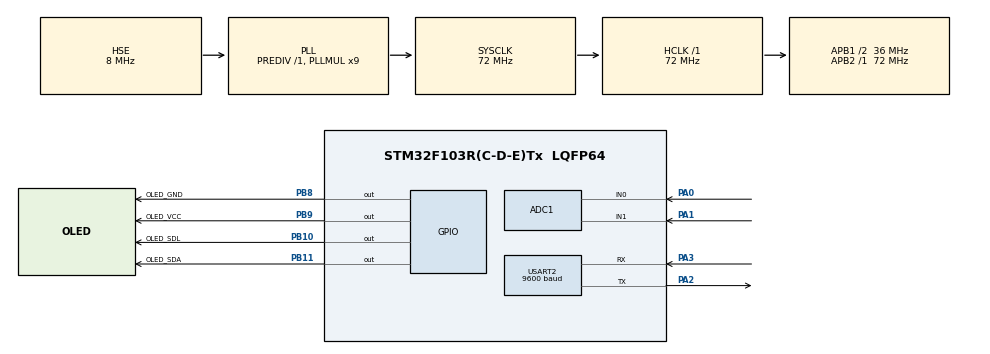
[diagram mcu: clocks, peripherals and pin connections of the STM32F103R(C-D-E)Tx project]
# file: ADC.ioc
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ADC1.Channel-3\#ChannelRegularConversion=ADC_CHANNEL_1
ADC1.ContinuousConvMode=DISABLE
ADC1.DiscontinuousConvMode=DISABLE
ADC1.NbrOfConversion=2
ADC1.NbrOfConversionFlag=1
ADC1.Rank-3\#ChannelRegularConversion=2
ADC1.SamplingTime-3\#ChannelRegularConversion=ADC_SAMPLETIME_1CYCLE_5
ADC1.master=1
Dma.ADC1.0.Direction=DMA_PERIPH_TO_MEMORY
Dma.ADC1.0.Instance=DMA1_Channel1
Dma.ADC1.0.MemDataAlignment=DMA_MDATAALIGN_WORD
Dma.ADC1.0.MemInc=DMA_MINC_ENABLE
Dma.ADC1.0.Mode=DMA_CIRCULAR
Dma.ADC1.0.PeriphDataAlignment=DMA_PDATAALIGN_WORD
Dma.ADC1.0.PeriphInc=DMA_PINC_DISABLE
Dma.ADC1.0.Priority=DMA_PRIORITY_LOW
Dma.Request0=ADC1
Mcu.Family=STM32F1
Mcu.Name=STM32F103R(C-D-E)Tx
Mcu.Package=LQFP64
NVIC.DMA1_Channel1_IRQn=true\:0\:0\:false\:false\:true\:false\:true\:true
NVIC.PriorityGroup=NVIC_PRIORITYGROUP_4
NVIC.USART2_IRQn=true\:0\:0\:false\:false\:true\:true\:true\:true
PA0-WKUP.Signal=ADCx_IN0
PA1.Signal=ADCx_IN1
PA13.Mode=Serial_Wire
PA13.Signal=SYS_JTMS-SWDIO
PA14.Mode=Serial_Wire
PA14.Signal=SYS_JTCK-SWCLK
PA2.Mode=Asynchronous
PA2.Signal=USART2_TX
PA3.Mode=Asynchronous
PA3.Signal=USART2_RX
PB10.GPIO_Label=OLED_SDL
PB10.GPIO_ModeDefaultOutputPP=GPIO_MODE_OUTPUT_OD
PB10.GPIO_PuPd=GPIO_NOPULL
PB10.PinState=GPIO_PIN_SET
PB10.Signal=GPIO_Output
PB11.GPIO_Label=OLED_SDA
PB11.GPIO_ModeDefaultOutputPP=GPIO_MODE_OUTPUT_OD
PB11.GPIO_PuPd=GPIO_NOPULL
PB11.PinState=GPIO_PIN_SET
PB11.Signal=GPIO_Output
PB8.GPIO_Label=OLED_GND
PB8.PinState=GPIO_PIN_RESET
PB8.Signal=GPIO_Output
PB9.GPIO_Label=OLED_VCC
PB9.GPIO_ModeDefaultOutputPP=GPIO_MODE_OUTPUT_PP
PB9.GPIO_PuPd=GPIO_NOPULL
PB9.PinState=GPIO_PIN_SET
PB9.Signal=GPIO_Output
PC14-OSC32_IN.Mode=LSE-External-Oscillator
PC14-OSC32_IN.Signal=RCC_OSC32_IN
PC15-OSC32_OUT.Mode=LSE-External-Oscillator
PC15-OSC32_OUT.Signal=RCC_OSC32_OUT
PD0-OSC_IN.Mode=HSE-External-Oscillator
PD0-OSC_IN.Signal=RCC_OSC_IN
PD1-OSC_OUT.Mode=HSE-External-Oscillator
PD1-OSC_OUT.Signal=RCC_OSC_OUT
ProjectManager.HeapSize=0x200
ProjectManager.StackSize=0x400
ProjectManager.TargetToolchain=MDK-ARM V5
RCC.ADCPresc=RCC_ADCPCLK2_DIV6
RCC.AHBFreq_Value=72000000
RCC.APB1CLKDivider=RCC_HCLK_DIV2
RCC.APB1Freq_Value=36000000
RCC.APB1TimFreq_Value=72000000
RCC.APB2Freq_Value=72000000
RCC.APB2TimFreq_Value=72000000
RCC.HCLKFreq_Value=72000000
RCC.PLLMUL=RCC_PLL_MUL9
RCC.PLLSourceVirtual=RCC_PLLSOURCE_HSE
RCC.SYSCLKFreq_VALUE=72000000
RCC.SYSCLKSource=RCC_SYSCLKSOURCE_PLLCLK
RCC.USBFreq_Value=72000000
SH.ADCx_IN0.0=ADC1_IN0,IN0
SH.ADCx_IN1.0=ADC1_IN1,IN1
TIM2.AutoReloadPreload=TIM_AUTORELOAD_PRELOAD_ENABLE
TIM2.Period=999
TIM2.Prescaler=71
USART2.BaudRate=9600
USART2.VirtualMode=VM_ASYNC
VP_TIM2_VS_ClockSourceINT.Mode=Internal
board=custom

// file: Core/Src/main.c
/* USER CODE BEGIN Header */
/**
  ******************************************************************************
  * @file           : main.c
  * @brief          : Main program body
  ******************************************************************************
  * @attention
  *
  * Copyright (c) 2026 STMicroelectronics.
  * All rights reserved.
  *
  * This software is licensed under terms that can be found in the LICENSE file
  * in the root directory of this software component.
  * If no LICENSE file comes with this software, it is provided AS-IS.
  *
  ******************************************************************************
  */
/* USER CODE END Header */
#include "main.h"
#include "adc.h"
#include "dma.h"
#include "tim.h"
#include "usart.h"
#include "gpio.h"

/* USER CODE BEGIN Includes */
#include <string.h>
#include <stdio.h>
#include "OLED.h"
/* USER CODE END Includes */

/* USER CODE BEGIN PD */
#define TestON
//#define TestOFF

//#ifdef TestON
//	printf("");
//#endif
/* USER CODE END PD */

void SystemClock_Config(void);

/* USER CODE BEGIN 0 */
// 1. ???????(????????)
#if (__ARMCC_VERSION >= 6010050)
__asm(".global __use_no_semihosting\n\t"); // ARMCC6
#else
#pragma import(__use_no_semihosting) // ARMCC5
#endif

// �ض���
uint32_t a=1,b=5;
char ch_library[4][16] __attribute__((aligned(32))) = {0};//
int fputc(int ch, FILE *f)
{
  uint8_t temp[1] = {ch};
  HAL_UART_Transmit(&huart2, temp, 1, 0);
		if(ch=='\n'){
			if(a!=1){
				a=15;
			}
			else{
				a=0;
			}
		}
		else{
			ch_library[(b-1)%4][a-1]=ch;
			OLED_ShowChar(4,a,(char)ch);
		}
		if(a==1)
		{
				int roll_base = (b-1) % 4;
				OLED_ShowString(1,1,ch_library[(roll_base+1)%4]);
				OLED_ShowString(2,1,ch_library[(roll_base+2)%4]);
				OLED_ShowString(3,1,ch_library[(roll_base+3)%4]);
		}

	if(a<15){
		a++;
	}
	else{
		OLED_Clear();
		b++;
		for(a=0;a<=15;a++){
			ch_library[(b-1)%4][a]=0;
		}
		a=1;
	}
		HAL_Delay(10);
    return ch;
}

// 3. ??:????????(??L6915E??)
// 3.1 ??_sys_exit(????????????)
void _sys_exit(int x)
{
    x = x; // ?????????
    while(1); // ???,??????
}

// 3.2 ??_sys_open(??????????)
typedef int FILEHANDLE; // ??:????FILEHANDLE?int??
FILEHANDLE _sys_open(const char *name, int openmode)
{
    (void)name;
    (void)openmode;
    return 0; // ?????
}

// 3.3 ??_ttywrch(??????????)
void _ttywrch(int ch)
{
    (void)ch; // ???,???????
}

// 3.4 ??:???????????????(????)
struct __FILE
{
    int handle;
    // ????(???)
};
FILE __stdout; // ??stdout,??printf???????

uint32_t num[2]={0};
/* USER CODE END 0 */

int main(void)
{

  /* MCU Configuration--------------------------------------------------------*/

  /* Reset of all peripherals, Initializes the Flash interface and the Systick. */
  HAL_Init();

  /* Configure the system clock */
  SystemClock_Config();

  /* Initialize all configured peripherals */
  MX_GPIO_Init();
  MX_DMA_Init();
  MX_ADC1_Init();
  MX_USART2_UART_Init();
  MX_TIM2_Init();
  /* USER CODE BEGIN 2 */
	OLED_Init();
	//OLED_ShowString(1,1,"KSKBL");
	printf("[Debug]main:begin\n");
	//OLED_ShowString(1,1,ch_library[0]);

  /* USER CODE END 2 */

  /* Infinite loop */
  /* USER CODE BEGIN WHILE */
	printf("[Debug]main:entry while\n");
  while (1)
  {
		HAL_ADC_Start_DMA(&hadc1,(uint32_t *)num,2);
    //HAL_Delay(500);
		//printf("[Debug]main:begin\n");
		//HAL_Delay(500);
		//printf("[Debug]main:entry while\n");
    printf("c1:%d c2:%d\n",num[0],num[1]);
		//printf("[Debug]main:beg\n");

		//printf("%d\n",dsb++);
    //printf("%d %d %d %d",num[4],num[5],num[6],num[7]);

    /* USER CODE END WHILE */

  }
}

void SystemClock_Config(void)
{
  RCC_OscInitTypeDef RCC_OscInitStruct = {0};
  RCC_ClkInitTypeDef RCC_ClkInitStruct = {0};
  RCC_PeriphCLKInitTypeDef PeriphClkInit = {0};

  /** Initializes the RCC Oscillators according to the specified parameters
  * in the RCC_OscInitTypeDef structure.
  */
  RCC_OscInitStruct.OscillatorType = RCC_OSCILLATORTYPE_HSE;
  RCC_OscInitStruct.HSEState = RCC_HSE_ON;
  RCC_OscInitStruct.HSEPredivValue = RCC_HSE_PREDIV_DIV1;
  RCC_OscInitStruct.HSIState = RCC_HSI_ON;
  RCC_OscInitStruct.PLL.PLLState = RCC_PLL_ON;
  RCC_OscInitStruct.PLL.PLLSource = RCC_PLLSOURCE_HSE;
  RCC_OscInitStruct.PLL.PLLMUL = RCC_PLL_MUL9;
  if (HAL_RCC_OscConfig(&RCC_OscInitStruct) != HAL_OK)
  {
    Error_Handler();
  }

  /** Initializes the CPU, AHB and APB buses clocks
  */
  RCC_ClkInitStruct.ClockType = RCC_CLOCKTYPE_HCLK|RCC_CLOCKTYPE_SYSCLK
                              |RCC_CLOCKTYPE_PCLK1|RCC_CLOCKTYPE_PCLK2;
  RCC_ClkInitStruct.SYSCLKSource = RCC_SYSCLKSOURCE_PLLCLK;
  RCC_ClkInitStruct.AHBCLKDivider = RCC_SYSCLK_DIV1;
  RCC_ClkInitStruct.APB1CLKDivider = RCC_HCLK_DIV2;
  RCC_ClkInitStruct.APB2CLKDivider = RCC_HCLK_DIV1;

  if (HAL_RCC_ClockConfig(&RCC_ClkInitStruct, FLASH_LATENCY_2) != HAL_OK)
  {
    Error_Handler();
  }
  PeriphClkInit.PeriphClockSelection = RCC_PERIPHCLK_ADC;
  PeriphClkInit.AdcClockSelection = RCC_ADCPCLK2_DIV6;
  if (HAL_RCCEx_PeriphCLKConfig(&PeriphClkInit) != HAL_OK)
  {
    Error_Handler();
  }
}

void Error_Handler(void)
{
  __disable_irq();
  while (1)
  {
  }
}
